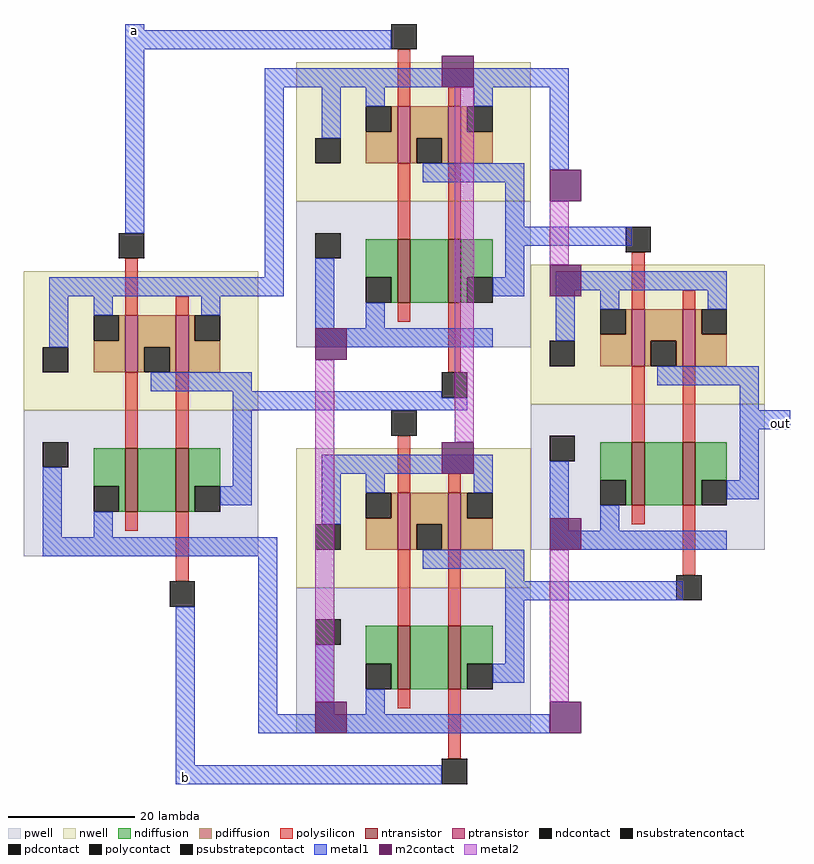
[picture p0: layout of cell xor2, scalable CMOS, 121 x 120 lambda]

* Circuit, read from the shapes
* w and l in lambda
.subckt xor2 GND! Vdd! a b out
M1 n1 a GND! GND! nfet w=10 l=2
M2 nand2_2/A b n1 GND! nfet w=10 l=2
M3 n2 nand2_2/A GND! GND! nfet w=10 l=2
M4 n3 a GND! GND! nfet w=10 l=2
M5 nand2_1/B b n2 GND! nfet w=10 l=2
M6 nand2_1/A nand2_2/A n3 GND! nfet w=10 l=2
M7 n4 nand2_1/A GND! GND! nfet w=10 l=2
M8 out nand2_1/B n4 GND! nfet w=10 l=2
M9 nand2_2/A a Vdd! Vdd! pfet w=9 l=2
M10 Vdd! b nand2_2/A Vdd! pfet w=9 l=2
M11 nand2_1/B nand2_2/A Vdd! Vdd! pfet w=9 l=2
M12 nand2_1/A a Vdd! Vdd! pfet w=9 l=2
M13 Vdd! b nand2_1/B Vdd! pfet w=9 l=2
M14 Vdd! nand2_2/A nand2_1/A Vdd! pfet w=9 l=2
M15 out nand2_1/A Vdd! Vdd! pfet w=9 l=2
M16 Vdd! nand2_1/B out Vdd! pfet w=9 l=2
.ends

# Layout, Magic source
magic
tech scmos
<< metal1 >>
rect 4 42 7 43
rect 4 39 46 42
rect 4 10 7 39
rect 26 33 39 36
rect 59 33 74 36
rect 26 3 29 33
rect 71 20 74 33
rect 67 8 84 11
rect 18 0 29 3
rect 92 3 95 4
rect 24 -16 54 -15
rect 24 -18 58 -16
rect 104 -21 109 -18
rect 17 -41 28 -38
rect 12 -74 15 -49
rect 25 -66 28 -41
rect 67 -48 92 -45
rect 25 -69 34 -66
rect 39 -69 42 -66
rect 60 -69 71 -66
rect 12 -77 54 -74
<< m2contact >>
rect 54 33 59 38
rect 71 15 76 20
rect 71 0 76 5
rect 34 -10 39 -5
rect 54 -28 59 -23
rect 71 -40 76 -35
rect 34 -69 39 -64
rect 71 -69 76 -64
<< metal2 >>
rect 34 -64 37 -10
rect 56 -23 59 33
rect 71 5 74 15
rect 71 -64 74 -40
use nand2  nand2_2
transform 1 0 21 0 1 -62
box 10 -15 47 44
use nand2  nand2_0
transform 1 0 21 0 1 -1
box 10 -15 47 44
use nand2  nand2_1
transform 1 0 58 0 1 -33
box 10 -15 47 44
use nand2  nand2_3
transform 1 0 -22 0 1 -34
box 10 -15 47 44
<< labels >>
rlabel metal1 107 -20 108 -20 3 out
rlabel metal1 5 42 6 42 1 a
rlabel metal1 13 -76 14 -76 5 b
<< end >>

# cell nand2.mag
magic
tech scmos
<< nwell >>
rect 10 16 47 38
<< pwell >>
rect 10 -7 47 16
<< ntransistor >>
rect 26 0 28 10
rect 34 0 36 10
<< ptransistor >>
rect 26 22 28 31
rect 34 22 36 31
<< ndiffusion >>
rect 21 4 26 10
rect 25 0 26 4
rect 28 0 34 10
rect 36 4 41 10
rect 36 0 37 4
<< pdiffusion >>
rect 25 27 26 31
rect 21 22 26 27
rect 28 26 34 31
rect 28 22 29 26
rect 33 22 34 26
rect 36 27 37 31
rect 36 22 41 27
<< ndcontact >>
rect 21 0 25 4
rect 37 0 41 4
<< pdcontact >>
rect 21 27 25 31
rect 29 22 33 26
rect 37 27 41 31
<< psubstratepcontact >>
rect 13 7 17 11
<< nsubstratencontact >>
rect 13 22 17 26
<< polysilicon >>
rect 26 31 28 40
rect 34 31 36 34
rect 26 10 28 22
rect 34 10 36 22
rect 26 -3 28 0
rect 34 -11 36 0
<< polycontact >>
rect 25 40 29 44
rect 33 -15 37 -11
<< metal1 >>
rect 14 34 41 37
rect 14 26 17 34
rect 21 31 24 34
rect 38 31 41 34
rect 30 19 46 22
rect 13 -4 16 7
rect 43 4 46 19
rect 41 1 46 4
rect 21 -4 24 0
rect 13 -7 41 -4
<< labels >>
rlabel metal1 14 34 41 37 1 Vdd!
rlabel metal1 13 -7 41 -4 5 GND!
rlabel metal1 43 12 46 15 3 out
port 3 e
rlabel polycontact 25 40 29 44 1 A
port 2 n
rlabel polycontact 33 -15 37 -11 5 B
port 1 s
<< end >>
